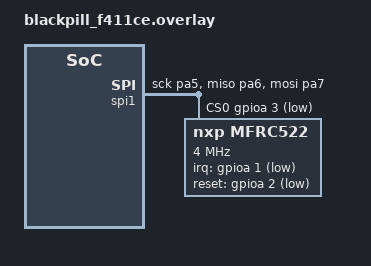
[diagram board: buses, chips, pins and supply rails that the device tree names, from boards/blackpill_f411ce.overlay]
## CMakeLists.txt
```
# SPDX-License-Identifier: Apache-2.0

cmake_minimum_required(VERSION 3.20.0)

find_package(Zephyr REQUIRED HINTS $ENV{ZEPHYR_BASE})
project(nfc_tag_reader)

target_sources(app PRIVATE src/main.c)
```

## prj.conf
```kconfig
CONFIG_LOG=y
CONFIG_MAIN_STACK_SIZE=2048
CONFIG_NFC=y
CONFIG_NFC_LOG_LEVEL_DBG=y
CONFIG_NFC_DRIVERS_LOG_LEVEL_DBG=y
```

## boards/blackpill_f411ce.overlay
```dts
/*
 * Copyright (c) 2026 RAKwireless Technology Limited
 *
 * SPDX-License-Identifier: Apache-2.0
 */

/ {
	aliases {
		nfc0 = &mfrc522;
	};
};

&spi1 {
	pinctrl-0 = <&spi1_sck_pa5 &spi1_miso_pa6 &spi1_mosi_pa7>;
	pinctrl-names = "default";
	cs-gpios = <&gpioa 3 GPIO_ACTIVE_LOW>;

	mfrc522: mfrc522@0 {
		compatible = "nxp,mfrc522";
		reg = <0>;
		spi-max-frequency = <4000000>;
		irq-gpios = <&gpioa 1 GPIO_ACTIVE_LOW>;
		reset-gpios = <&gpioa 2 GPIO_ACTIVE_LOW>;
	};
};
```

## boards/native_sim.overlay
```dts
/*
 * Copyright (c) 2026 RAKwireless Technology Limited
 *
 * SPDX-License-Identifier: Apache-2.0
 */

/ {
	aliases {
		nfc0 = &nfc_emul;
	};

	nfc_emul: nfc-reader {
		compatible = "zephyr,nfc-emul";
		backend = "initiator";
		status = "okay";
	};
};
```

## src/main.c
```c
/*
 * Copyright (c) 2026 RAKwireless Technology Limited
 *
 * SPDX-License-Identifier: Apache-2.0
 */

#include <string.h>

#include <zephyr/device.h>
#include <zephyr/kernel.h>
#include <zephyr/logging/log.h>
#include <zephyr/nfc/ndef.h>
#include <zephyr/nfc/poller.h>
#include <zephyr/nfc/tag.h>

LOG_MODULE_REGISTER(nfc_tag_reader, LOG_LEVEL_INF);

#define NDEF_BUF_SIZE 256
#define MAX_RECORDS   8

NFC_POLLER_DEFINE(poller, DEVICE_DT_GET(DT_ALIAS(nfc0)));

static const char *tag_type_str(enum nfc_tag_type type)
{
	switch (type) {
	case NFC_TAG_TYPE_T2T:
		return "Type 2";
	case NFC_TAG_TYPE_T4T_A:
		return "Type 4A";
	case NFC_TAG_TYPE_T4T_B:
		return "Type 4B";
	default:
		return "unknown";
	}
}

static void print_records(const uint8_t *msg, uint16_t len)
{
	struct nfc_ndef_record records[MAX_RECORDS];
	size_t count = ARRAY_SIZE(records);
	int ret;

	ret = nfc_ndef_msg_parse(msg, len, records, &count);
	if (ret < 0) {
		LOG_ERR("cannot parse the NDEF message (%d)", ret);
		return;
	}

	for (size_t i = 0U; i < count; i++) {
		LOG_INF("  record %zu: TNF %u, %u byte payload", i, records[i].tnf,
			records[i].payload_len);
		LOG_HEXDUMP_INF(records[i].type, records[i].type_len, "  type");
		LOG_HEXDUMP_INF(records[i].payload, records[i].payload_len, "  payload");
	}
}

static void read_tag(const struct nfc_target *target)
{
	uint8_t msg[NDEF_BUF_SIZE];
	uint16_t len = sizeof(msg);
	struct nfc_tag tag;
	int ret;

	ret = nfc_tag_connect(&poller, target, &tag, K_SECONDS(2));
	if (ret < 0) {
		if (ret == -ENOTSUP) {
			LOG_INF("not an NDEF tag");
		} else {
			LOG_ERR("cannot connect to the tag (%d)", ret);
		}
		(void)nfc_target_release(&poller, target, K_MSEC(100));
		return;
	}

	LOG_INF("%s Tag", tag_type_str(tag.type));

	ret = nfc_tag_read_ndef(&tag, msg, &len, K_SECONDS(1));
	if (ret == -ENOENT) {
		LOG_INF("  the tag holds no NDEF message");
	} else if (ret < 0) {
		LOG_ERR("  cannot read the NDEF message (%d)", ret);
	} else {
		print_records(msg, len);
	}

	ret = nfc_tag_close(&tag, K_MSEC(100));
	if (ret < 0) {
		LOG_ERR("cannot release the tag (%d)", ret);
	}
}

int main(void)
{
	uint8_t seen[NFC_UID_MAXLEN];
	uint8_t seen_len = 0U;
	int ret;

	if (!device_is_ready(poller.dev)) {
		LOG_ERR("%s is not ready", poller.dev->name);
		return 0;
	}

	ret = nfc_poller_start(&poller, NFC_PROTO_ISO14443A);
	if (ret < 0) {
		LOG_ERR("cannot start the poller (%d)", ret);
		return 0;
	}

	LOG_INF("Present a tag to %s", poller.dev->name);

	while (true) {
		struct nfc_target target;
		const uint8_t *uid;
		uint8_t uid_len;

		ret = nfc_discover(&poller, K_MSEC(500), &target);
		if (ret == -EAGAIN) {
			/* Nothing in the field; the call already waited. */
			seen_len = 0U;
			continue;
		}
		if (ret < 0) {
			LOG_ERR("cannot poll for a tag (%d)", ret);
			k_sleep(K_SECONDS(1));
			continue;
		}

		uid = nfc_target_uid(&target, &uid_len);
		if (uid_len == seen_len && memcmp(uid, seen, uid_len) == 0) {
			continue;
		}
		memcpy(seen, uid, uid_len);
		seen_len = uid_len;

		LOG_HEXDUMP_INF(uid, uid_len, "UID");

		read_tag(&target);
	}

	return 0;
}
```
